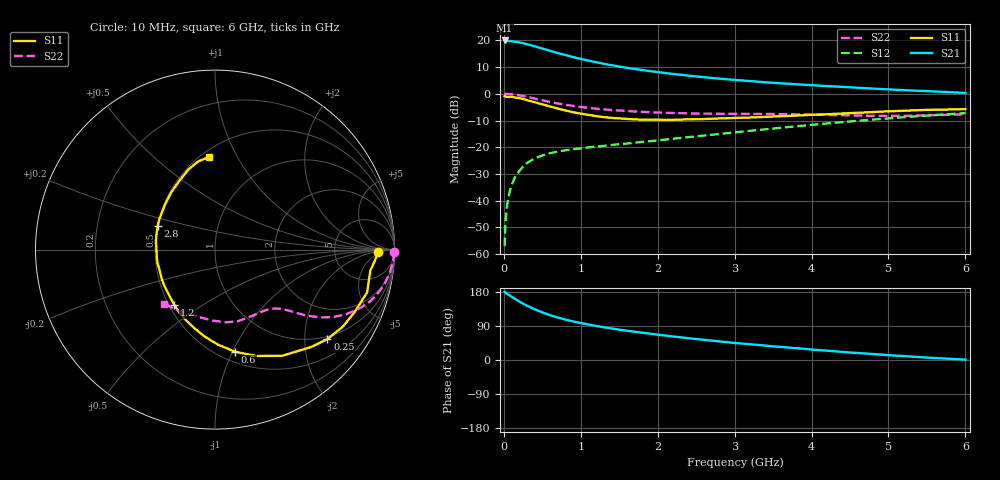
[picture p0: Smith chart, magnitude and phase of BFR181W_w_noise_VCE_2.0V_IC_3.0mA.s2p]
! Infineon Technologies  Discrete & RF Semiconductors
! BFR181W
! VCE =  2.0 V,  IC =  3.0 mA
! Common Emitter S-Parameters:  Jan 2017
# GHz  S  MA  R  50
!  f  S11  S21  S12  S22
! GHz  MAG  ANG  MAG  ANG  MAG  ANG  MAG  ANG
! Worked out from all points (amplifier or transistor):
!   77 points, 10 MHz to 6 GHz, reference 50 ohm
!   highest |S21| = 20.0 dB at 10 MHz (marker M1)
!   |S21| within 3 dB of that: start of sweep to 495.5 MHz
!   unconditionally stable (mu >= 1): 1.587 GHz to 3.768 GHz
!   at 130 MHz: K = 0.10, MSG = 25.9 dB, |S12| = -32.3 dB
!   at 2.2 GHz: K = 1.09, MAG = 10.3 dB, |S12| = -16.8 dB
!   at 6 GHz: K = 0.86, MSG = 3.8 dB, |S12| = -7.2 dB
!   lowest NFmin = 0.87 dB at 450 MHz
!   S11 on the Smith chart (normalised r, x): 10 MHz: 21, -3; 250 MHz: 0.93, -2.57; 600 MHz: 0.60, -1.02; 1.2 GHz: 0.53, -0.38; 2.8 GHz: 0.50, +0.15; 6 GHz: 0.55, +0.77
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0.01  0.9096 -0.7  9.988 179.8  0.0014 99.2  0.9996 -0.8
0.02  0.8904 -4.4  9.879 177.5  0.0036 101.1  0.9977 -1.5
0.03  0.8843 -5.5  9.858 176.2  0.0055 91.6  0.9963 -2.3
0.07  0.874 -10.9  9.749 171.1  0.0134 83.0  0.988 -5.6
0.15  0.8521 -24.1  9.455 160.8  0.0279 77.4  0.9617 -11.9
0.25  0.8007 -38.5  8.869 148.6  0.0436 69.0  0.9096 -18.6
0.3  0.7624 -45.4  8.491 143.2  0.0505 65.6  0.8771 -21.5
0.4  0.7006 -57.6  7.781 133.7  0.0616 60.4  0.8156 -26.2
0.5  0.6354 -68.9  7.04 125.5  0.0701 56.4  0.7572 -29.8
0.6  0.5796 -78.9  6.395 118.3  0.0771 53.5  0.7047 -32.4
0.7  0.5299 -88.2  5.808 112.1  0.0824 51.6  0.6611 -34.3
0.8  0.4878 -96.8  5.322 106.6  0.0876 50.4  0.624 -36.0
0.9  0.4521 -104.9  4.879 101.7  0.0916 49.3  0.5938 -37.1
1.1  0.4038 -119.4  4.187 93.6  0.0992 49.0  0.5464 -39.0
1.2  0.3824 -126.4  3.901 89.8  0.1027 48.7  0.5272 -39.9
1.6  0.3388 -150.9  3.066 77.2  0.117 50.5  0.4769 -43.6
2.1  0.3257 -176.0  2.452 64.5  0.1391 53.4  0.4414 -49.8
2.8  0.3456 157.6  1.925 49.1  0.1764 55.9  0.4234 -60.8
3.1  0.3562 148.5  1.776 43.3  0.1959 56.0  0.42 -65.5
4.1  0.4089 124.4  1.423 26.1  0.27 53.6  0.4061 -83.3
5.1  0.4761 106.6  1.19 11.5  0.3552 47.2  0.3862 -108.9
6  0.5161 94.0  1.04 0.8  0.4353 39.1  0.4143 -133.1
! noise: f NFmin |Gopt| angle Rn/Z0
0.45  0.87  0.47  17  0.27
0.9  0.93  0.42  32  0.26
1.9  1.34  0.24  80  0.21
2.4  1.55  0.21  94  0.23
